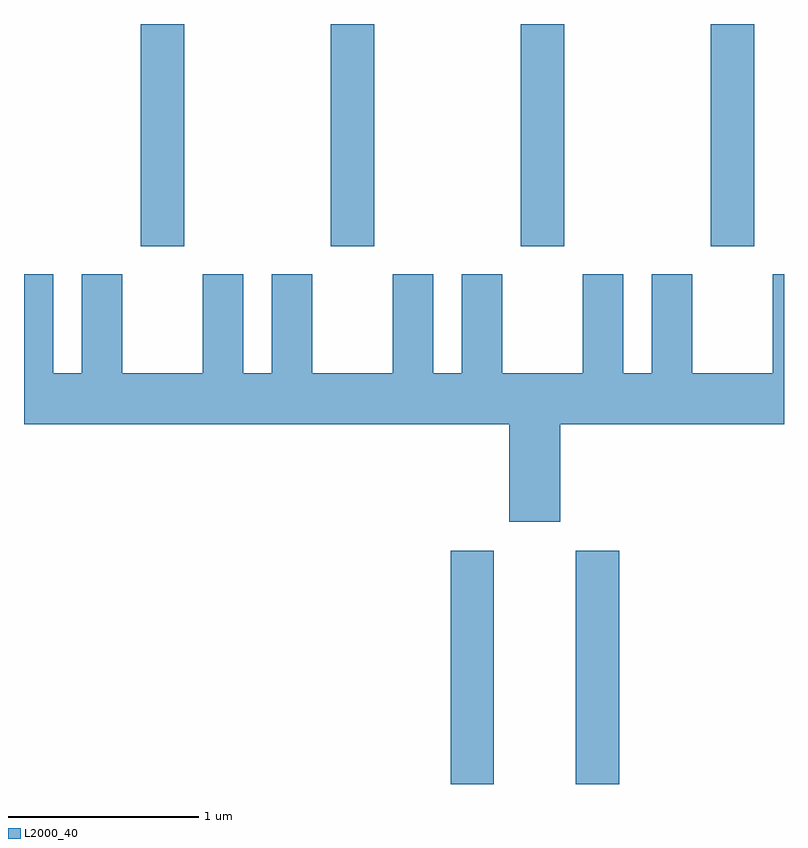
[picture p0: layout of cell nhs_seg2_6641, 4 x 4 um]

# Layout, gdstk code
import gdstk
lib = gdstk.Library(unit=1e-6, precision=1e-09)
def R(c, l, rs):  # rectangles x0, y0, x1, y1
    for r in rs: c.add(gdstk.rectangle(r[:2], r[2:], *l))
def A(c, l, x, y, w, h, nx, ny, dx, dy):  # array of equal rectangles
    R(c, l, [(x+i*dx, y+j*dy, x+i*dx+w, y+j*dy+h) for i in range(nx) for j in range(ny)])
def P(c, l, *ps):  # polygons
    for p in ps: c.add(gdstk.Polygon(p, *l))
L2000_40 = (2000, 40)

nhs_seg2_6641 = lib.new_cell('nhs_seg2_6641')
A(nhs_seg2_6641, L2000_40, 382.226, 1002.631, 0.228, 1.171, 4, 1, 1, 0)
R(nhs_seg2_6641, L2000_40, [(383.856,999.802,384.084,1001.029), (384.516,999.802,384.744,1001.029)])
P(nhs_seg2_6641, L2000_40, [(384.434,1001.696),(385.611,1001.696),(385.611,1002.484),(385.551,1002.484),(385.551,1001.964),(385.129,1001.964),(385.129,1002.484),(384.916,1002.484),(384.916,1001.964),(384.764,1001.964),(384.764,1002.484),(384.551,1002.484),(384.551,1001.964),(384.129,1001.964),(384.129,1002.484),(383.916,1002.484),(383.916,1001.964),(383.764,1001.964),(383.764,1002.484),(383.551,1002.484),(383.551,1001.964),(383.129,1001.964),(383.129,1002.484),(382.916,1002.484),(382.916,1001.964),(382.764,1001.964),(382.764,1002.484),(382.551,1002.484),(382.551,1001.964),(382.129,1001.964),(382.129,1002.484),(381.916,1002.484),(381.916,1001.964),(381.764,1001.964),(381.764,1002.484),(381.611,1002.484),(381.611,1001.696),(384.166,1001.696),(384.166,1001.181),(384.434,1001.181)])

lib.write_gds('nhs_seg2_6641.gds')
